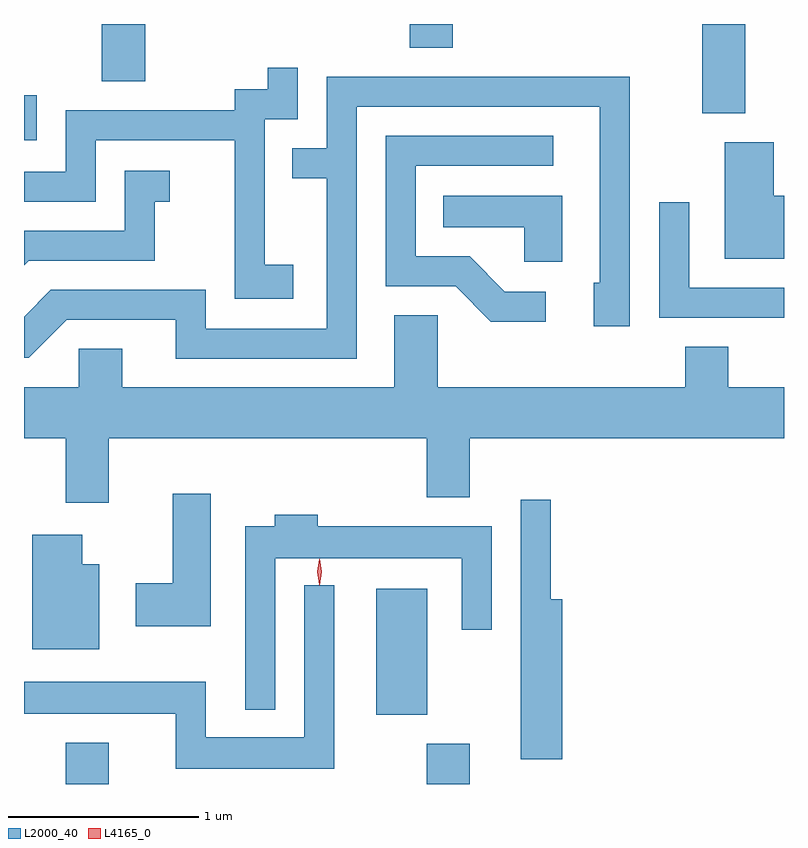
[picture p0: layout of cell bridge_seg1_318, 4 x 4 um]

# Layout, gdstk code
import gdstk
lib = gdstk.Library(unit=1e-6, precision=1e-09)
def R(c, l, rs):  # rectangles x0, y0, x1, y1
    for r in rs: c.add(gdstk.rectangle(r[:2], r[2:], *l))
def P(c, l, *ps):  # polygons
    for p in ps: c.add(gdstk.Polygon(p, *l))
L2000_40 = (2000, 40)
L4165_0 = (4165, 0)

bridge_seg1_318 = lib.new_cell('bridge_seg1_318')
R(bridge_seg1_318, L2000_40, [(923.281,875.557,923.509,875.774), (925.181,875.557,925.409,875.769), (924.916,875.921,925.184,876.584), (923.062,878.946,923.129,879.183), (926.631,879.086,926.859,879.557), (923.471,879.256,923.699,879.557), (925.091,879.431,925.319,879.557)])
P(bridge_seg1_318, L2000_40, [(924.479,878.289),(924.329,878.289),(924.329,879.056),(924.504,879.056),(924.504,879.328),(924.346,879.328),(924.346,879.214),(924.171,879.214),(924.171,879.104),(923.281,879.104),(923.281,878.779),(923.062,878.779),(923.062,878.621),(923.439,878.621),(923.439,878.946),(924.171,878.946),(924.171,878.111),(924.479,878.111)],
  [(924.814,879.121),(926.091,879.121),(926.091,878.194),(926.061,878.194),(926.061,877.966),(926.249,877.966),(926.249,879.279),(924.656,879.279),(924.656,878.904),(924.473,878.904),(924.473,878.746),(924.656,878.746),(924.656,877.954),(924.019,877.954),(924.019,878.159),(923.204,878.159),(923.062,878.017),(923.062,877.801),(923.087,877.801),(923.287,878.001),(923.861,878.001),(923.861,877.796),(924.814,877.796)],
  [(925.808,878.149),(925.592,878.149),(925.407,878.334),(925.124,878.334),(925.124,878.811),(925.848,878.811),(925.848,878.969),(924.966,878.969),(924.966,878.176),(925.334,878.176),(925.519,877.991),(925.808,877.991)],
  [(927.062,878.654),(927.009,878.654),(927.009,878.934),(926.751,878.934),(926.751,878.321),(927.062,878.321)],
  [(923.087,878.311),(923.749,878.311),(923.749,878.621),(923.828,878.621),(923.828,878.784),(923.591,878.784),(923.591,878.469),(923.062,878.469),(923.062,878.286)],
  [(925.894,878.654),(925.268,878.654),(925.268,878.486),(925.696,878.486),(925.696,878.306),(925.894,878.306)],
  [(927.062,878.169),(926.564,878.169),(926.564,878.618),(926.406,878.618),(926.406,878.011),(927.062,878.011)],
  [(923.509,877.376),(925.181,877.376),(925.181,877.066),(925.409,877.066),(925.409,877.376),(927.062,877.376),(927.062,877.644),(926.769,877.644),(926.769,877.859),(926.541,877.859),(926.541,877.644),(925.239,877.644),(925.239,878.024),(925.011,878.024),(925.011,877.644),(923.579,877.644),(923.579,877.849),(923.351,877.849),(923.351,877.644),(923.062,877.644),(923.062,877.376),(923.281,877.376),(923.281,877.036),(923.509,877.036)],
  [(924.044,877.084),(923.846,877.084),(923.846,876.614),(923.651,876.614),(923.651,876.386),(924.044,876.386)],
  [(925.894,876.529),(925.834,876.529),(925.834,877.053),(925.676,877.053),(925.676,875.686),(925.894,875.686)],
  [(924.384,876.746),(925.366,876.746),(925.366,876.368),(925.524,876.368),(925.524,876.914),(924.609,876.914),(924.609,876.974),(924.381,876.974),(924.381,876.914),(924.226,876.914),(924.226,875.948),(924.384,875.948)],
  [(923.459,876.714),(923.369,876.714),(923.369,876.869),(923.106,876.869),(923.106,876.266),(923.459,876.266)],
  [(924.694,876.603),(924.536,876.603),(924.536,875.804),(924.019,875.804),(924.019,876.094),(923.062,876.094),(923.062,875.926),(923.861,875.926),(923.861,875.636),(924.694,875.636)])
P(bridge_seg1_318, L4165_0, [(924.616,876.607),(924.616,876.608),(924.606,876.674),(924.616,876.74),(924.616,876.741),(924.617,876.74),(924.626,876.674),(924.617,876.608)],
  [(924.617,876.604),(924.608,876.673),(924.618,876.742),(924.618,876.743),(924.619,876.742),(924.628,876.673),(924.618,876.604),(924.618,876.604)])

lib.write_gds('bridge_seg1_318.gds')
